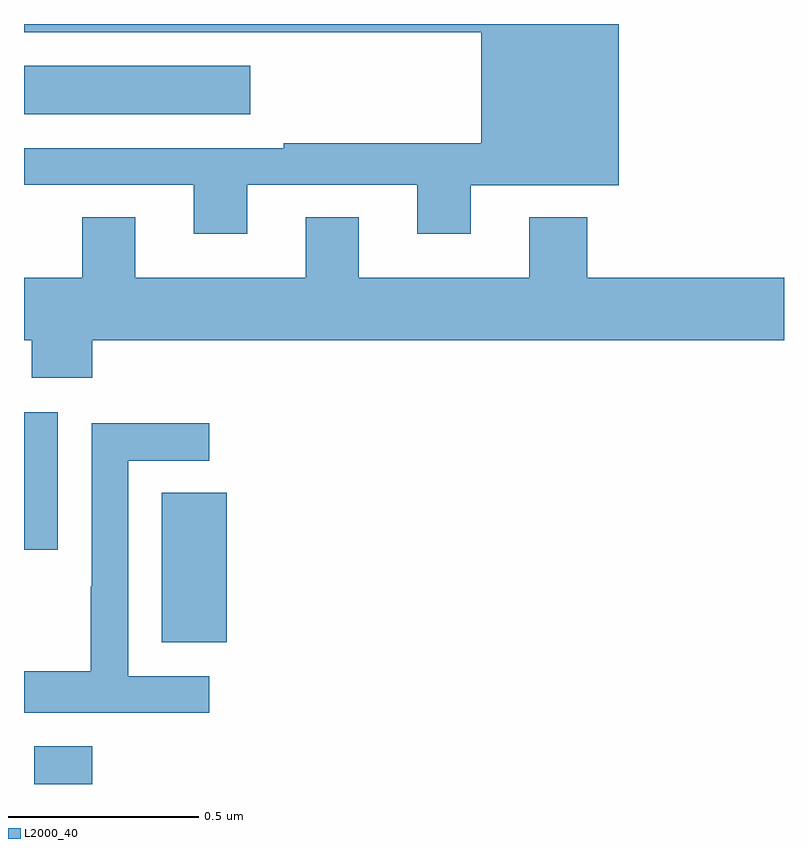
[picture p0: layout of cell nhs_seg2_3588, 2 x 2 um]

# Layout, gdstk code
import gdstk
lib = gdstk.Library(unit=1e-6, precision=1e-09)
def R(c, l, rs):  # rectangles x0, y0, x1, y1
    for r in rs: c.add(gdstk.rectangle(r[:2], r[2:], *l))
def P(c, l, *ps):  # polygons
    for p in ps: c.add(gdstk.Polygon(p, *l))
L2000_40 = (2000, 40)

nhs_seg2_3588 = lib.new_cell('nhs_seg2_3588')
R(nhs_seg2_3588, L2000_40, [(155.027,647.8,155.18,647.899), (155.363,648.173,155.534,648.566), (155,648.417,155.089,648.778), (155,649.562,155.596,649.69)])
P(nhs_seg2_3588, L2000_40, [(155.587,649.377),(156.035,649.377),(156.035,649.248),(156.175,649.248),(156.175,649.376),(156.565,649.376),(156.565,649.8),(155,649.8),(155,649.778),(156.203,649.778),(156.203,649.486),(155.683,649.486),(155.683,649.473),(155,649.473),(155,649.377),(155.447,649.377),(155.447,649.248),(155.587,649.248)],
  [(155.18,648.968),(157,648.968),(157,649.132),(156.482,649.132),(156.482,649.291),(156.329,649.291),(156.329,649.132),(155.881,649.132),(155.881,649.292),(155.741,649.292),(155.741,649.132),(155.293,649.132),(155.293,649.292),(155.153,649.292),(155.153,649.132),(155,649.132),(155,648.968),(155.02,648.968),(155.02,648.869),(155.18,648.869)],
  [(155.488,648.084),(155.274,648.084),(155.274,648.651),(155.488,648.651),(155.488,648.75),(155.178,648.75),(155.178,648.32),(155.176,648.32),(155.176,648.097),(155,648.097),(155,647.988),(155.488,647.988)])

lib.write_gds('nhs_seg2_3588.gds')
